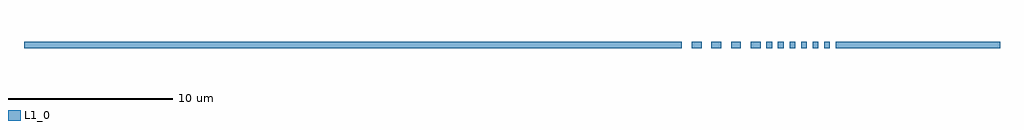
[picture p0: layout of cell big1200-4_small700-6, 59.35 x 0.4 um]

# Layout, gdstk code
import gdstk
lib = gdstk.Library(unit=1e-6, precision=1e-09)
def R(c, l, rs):  # rectangles x0, y0, x1, y1
    for r in rs: c.add(gdstk.rectangle(r[:2], r[2:], *l))
def A(c, l, x, y, w, h, nx, ny, dx, dy):  # array of equal rectangles
    R(c, l, [(x+i*dx, y+j*dy, x+i*dx+w, y+j*dy+h) for i in range(nx) for j in range(ny)])
L1_0 = (1, 0)

big1200_4_small700_6 = lib.new_cell('big1200-4_small700-6')
A(big1200_4_small700_6, L1_0, 0.6, 0, 0.6, 0.4, 4, 1, 1.2, 0)
A(big1200_4_small700_6, L1_0, 5.15, 0, 0.35, 0.4, 6, 1, 0.7, 0)
R(big1200_4_small700_6, L1_0, [(-40,0,0,0.4), (9.35,0,19.35,0.4)])

lib.write_gds('big1200-4_small700-6.gds')
